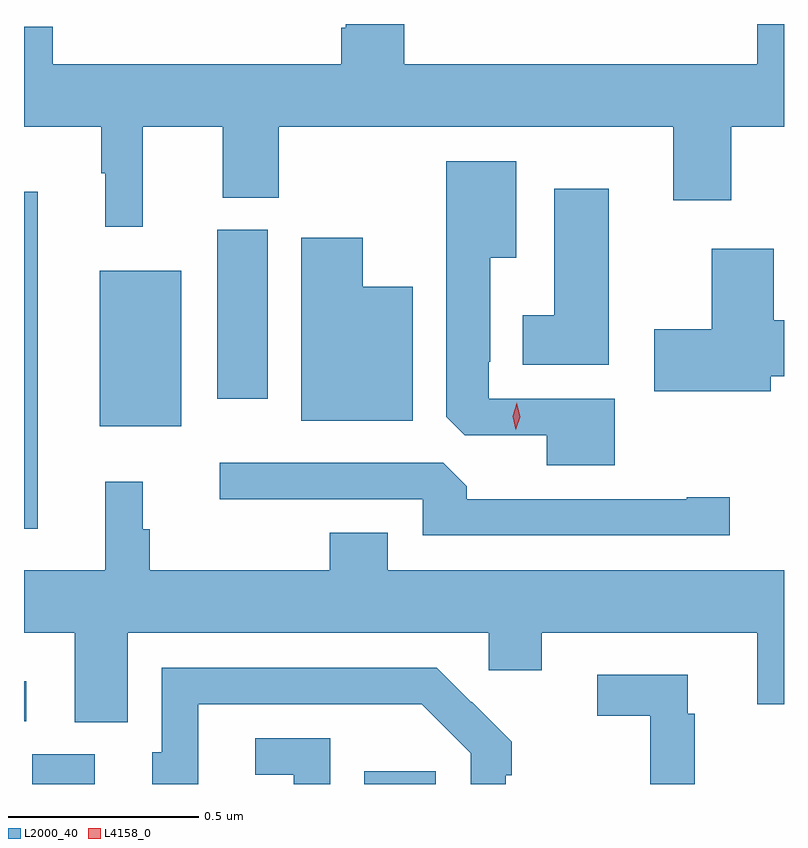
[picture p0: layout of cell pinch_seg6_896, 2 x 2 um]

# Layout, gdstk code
import gdstk
lib = gdstk.Library(unit=1e-6, precision=1e-09)
def R(c, l, rs):  # rectangles x0, y0, x1, y1
    for r in rs: c.add(gdstk.rectangle(r[:2], r[2:], *l))
def P(c, l, *ps):  # polygons
    for p in ps: c.add(gdstk.Polygon(p, *l))
L2000_40 = (2000, 40)
L4158_0 = (4158, 0)

pinch_seg6_896 = lib.new_cell('pinch_seg6_896')
R(pinch_seg6_896, L2000_40, [(139.124,994.89,139.288,994.968), (139.997,994.89,140.185,994.924), (139.102,995.055,139.108,995.161), (139.102,995.562,139.138,996.448), (139.301,995.831,139.516,996.241), (139.61,995.904,139.744,996.348)])
P(pinch_seg6_896, L2000_40, [(140.102,996.89),(139.949,996.89),(139.949,996.88),(139.937,996.88),(139.937,996.784),(139.178,996.784),(139.178,996.883),(139.102,996.883),(139.102,996.62),(139.305,996.62),(139.305,996.497),(139.316,996.497),(139.316,996.357),(139.415,996.357),(139.415,996.62),(139.625,996.62),(139.625,996.433),(139.773,996.433),(139.773,996.62),(140.81,996.62),(140.81,996.426),(140.963,996.426),(140.963,996.62),(141.102,996.62),(141.102,996.89),(141.032,996.89),(141.032,996.784),(140.102,996.784)],
  [(140.656,995.904),(140.325,995.904),(140.325,996.001),(140.329,996.001),(140.329,996.275),(140.398,996.275),(140.398,996.529),(140.213,996.529),(140.213,995.857),(140.262,995.808),(140.477,995.808),(140.477,995.729),(140.656,995.729)],
  [(140.641,996.457),(140.498,996.457),(140.498,996.124),(140.414,996.124),(140.414,995.993),(140.641,995.993)],
  [(140.125,996.199),(139.993,996.199),(139.993,996.328),(139.832,996.328),(139.832,995.846),(140.125,995.846)],
  [(141.067,995.963),(141.102,995.963),(141.102,996.11),(141.075,996.11),(141.075,996.298),(140.912,996.298),(140.912,996.087),(140.76,996.087),(140.76,995.924),(141.067,995.924)],
  [(140.959,995.645),(140.846,995.645),(140.846,995.64),(140.267,995.64),(140.267,995.674),(140.205,995.736),(139.617,995.736),(139.617,995.64),(140.151,995.64),(140.151,995.544),(140.959,995.544)],
  [(139.375,995.288),(140.325,995.288),(140.325,995.19),(140.464,995.19),(140.464,995.288),(141.032,995.288),(141.032,995.1),(141.102,995.1),(141.102,995.452),(140.059,995.452),(140.059,995.551),(139.907,995.551),(139.907,995.452),(139.433,995.452),(139.433,995.561),(139.415,995.561),(139.415,995.686),(139.316,995.686),(139.316,995.452),(139.102,995.452),(139.102,995.288),(139.235,995.288),(139.235,995.053),(139.375,995.053)],
  [(139.561,995.1),(140.149,995.1),(140.277,994.971),(140.277,994.89),(140.37,994.89),(140.37,994.913),(140.385,994.913),(140.385,995.001),(140.28,995.106),(140.279,995.105),(140.188,995.196),(139.464,995.196),(139.464,994.974),(139.439,994.974),(139.439,994.89),(139.561,994.89)],
  [(140.867,995.075),(140.849,995.075),(140.849,995.178),(140.61,995.178),(140.61,995.07),(140.75,995.07),(140.75,994.89),(140.867,994.89)],
  [(139.908,995.01),(139.71,995.01),(139.71,994.914),(139.812,994.914),(139.812,994.89),(139.908,994.89)])
P(pinch_seg6_896, L4158_0, [(140.396,995.822),(140.396,995.822),(140.388,995.858),(140.399,995.892),(140.399,995.893),(140.399,995.892),(140.408,995.857),(140.396,995.822)])

lib.write_gds('pinch_seg6_896.gds')
